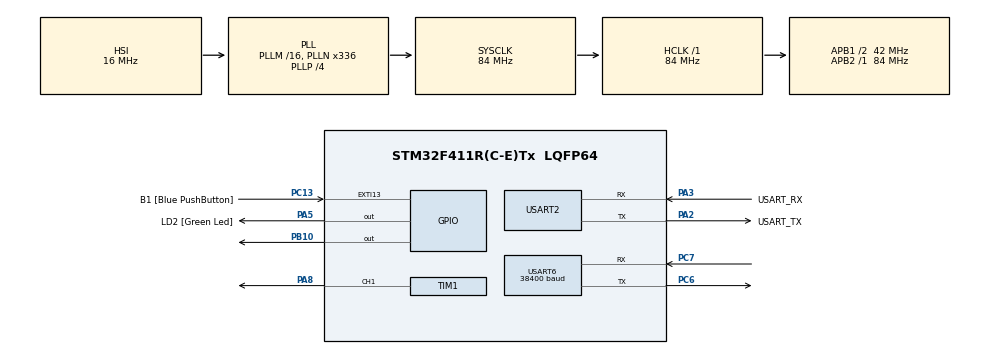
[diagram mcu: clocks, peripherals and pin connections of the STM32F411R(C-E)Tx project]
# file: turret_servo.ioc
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Mcu.Family=STM32F4
Mcu.Name=STM32F411R(C-E)Tx
Mcu.Package=LQFP64
NVIC.EXTI15_10_IRQn=true\:0\:0\:false\:false\:true\:true\:true\:true
NVIC.PriorityGroup=NVIC_PRIORITYGROUP_0
NVIC.TIM3_IRQn=true\:0\:0\:false\:false\:true\:true\:true\:true
NVIC.USART2_IRQn=true\:0\:0\:false\:false\:true\:true\:true\:true
NVIC.USART6_IRQn=true\:0\:0\:false\:false\:true\:true\:true\:true
PA13.GPIO_Label=TMS
PA13.Mode=Serial_Wire
PA13.Signal=SYS_JTMS-SWDIO
PA14.GPIO_Label=TCK
PA14.Mode=Serial_Wire
PA14.Signal=SYS_JTCK-SWCLK
PA2.GPIO_Label=USART_TX
PA2.Mode=Asynchronous
PA2.Signal=USART2_TX
PA3.GPIO_Label=USART_RX
PA3.Mode=Asynchronous
PA3.Signal=USART2_RX
PA5.GPIO_Label=LD2 [Green Led]
PA5.Signal=GPIO_Output
PA8.Signal=S_TIM1_CH1
PB10.Signal=GPIO_Output
PB3.GPIO_Label=SWO
PB3.Signal=SYS_JTDO-SWO
PC13-ANTI_TAMP.GPIO_Label=B1 [Blue PushButton]
PC13-ANTI_TAMP.GPIO_ModeDefaultEXTI=GPIO_MODE_IT_FALLING
PC13-ANTI_TAMP.Signal=GPXTI13
PC14-OSC32_IN.Mode=LSE-External-Oscillator
PC14-OSC32_IN.Signal=RCC_OSC32_IN
PC15-OSC32_OUT.Mode=LSE-External-Oscillator
PC15-OSC32_OUT.Signal=RCC_OSC32_OUT
PC6.Mode=Asynchronous
PC6.Signal=USART6_TX
PC7.Mode=Asynchronous
PC7.Signal=USART6_RX
PH0\ -\ OSC_IN.Mode=HSE-External-Clock-Source
PH0\ -\ OSC_IN.Signal=RCC_OSC_IN
PH1\ -\ OSC_OUT.Mode=HSE-External-Clock-Source
PH1\ -\ OSC_OUT.Signal=RCC_OSC_OUT
ProjectManager.HeapSize=0x200
ProjectManager.StackSize=0x400
ProjectManager.TargetToolchain=STM32CubeIDE
RCC.48MHZClocksFreq_Value=84000000
RCC.AHBFreq_Value=84000000
RCC.APB1CLKDivider=RCC_HCLK_DIV2
RCC.APB1Freq_Value=42000000
RCC.APB1TimFreq_Value=84000000
RCC.APB2Freq_Value=84000000
RCC.APB2TimFreq_Value=84000000
RCC.CortexFreq_Value=84000000
RCC.FLatency-AdvancedSettings=FLASH_LATENCY_2
RCC.HCLKFreq_Value=84000000
RCC.HSE_VALUE=8000000
RCC.HSI_VALUE=16000000
RCC.PLLN=336
RCC.PLLP=RCC_PLLP_DIV4
RCC.SYSCLKFreq_VALUE=84000000
RCC.SYSCLKSource=RCC_SYSCLKSOURCE_PLLCLK
RCC.VCOOutputFreq_Value=336000000
SH.S_TIM1_CH1.0=TIM1_CH1,PWM Generation1 CH1
TIM1.Channel-PWM\ Generation1\ CH1=TIM_CHANNEL_1
TIM1.Period=19999
TIM1.Prescaler=83
TIM3.Period=1000-1
TIM3.Prescaler=84-1
USART2.VirtualMode=VM_ASYNC
USART6.BaudRate=38400
USART6.VirtualMode=VM_ASYNC
VP_TIM3_VS_ClockSourceINT.Mode=Internal
board=NUCLEO-F411RE

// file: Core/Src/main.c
/* USER CODE BEGIN Header */
/* USER CODE END Header */
#include "main.h"

/* USER CODE BEGIN Includes */
	#include <math.h>  // atan2, M_PI 사용

	#include <stdio.h>
	#include <string.h>
	#include "esp.h"
	#include <stdlib.h>
/* USER CODE END Includes */

/* USER CODE BEGIN PD */
	#define ORIGIN_X 0
	#define ORIGIN_Y 0
	#ifdef __GNUC__

	#define PUTCHAR_PROTOTYPE int __io_putchar(int ch)
	#else
	#define PUTCHAR_PROTOTYPE int fputc(int ch, FILE *f)
	#endif /* __GNUC__ */
	#define ARR_CNT 5
	#define CMD_SIZE 50

#define TURRET_X -20.0
#define TURRET_Y 0.0

/* USER CODE END PD */

TIM_HandleTypeDef htim1;
TIM_HandleTypeDef htim3;

UART_HandleTypeDef huart2;
UART_HandleTypeDef huart6;

/* USER CODE BEGIN PV */
	volatile int newCoordFlag = 0;  // 좌표 수신 플래그
	volatile double targetX = 0;
	volatile double targetY = 0;

	volatile int pb10Active = 0;
	volatile unsigned int pb10StartTime = 0;

	uint8_t rx2char;
	extern cb_data_t cb_data;
	extern volatile unsigned char rx2Flag;
	extern volatile char rx2Data[50];
	volatile int tim3Flag1Sec=1;
	volatile unsigned int tim3Sec;
	char recvBuf[100];          // UART에서 받은 원본 버퍼
	char *pArray[ARR_CNT];      // 토큰 나눠 담을 포인터 배열
/* USER CODE END PV */

void SystemClock_Config(void);
static void MX_GPIO_Init(void);
static void MX_USART2_UART_Init(void);
static void MX_TIM1_Init(void);
static void MX_USART6_UART_Init(void);
static void MX_TIM3_Init(void);
/* USER CODE BEGIN PFP */
	char strBuff[MAX_ESP_COMMAND_LEN];
	void MX_GPIO_LED_ON(int flag);
	void MX_GPIO_LED_OFF(int flag);
	void esp_event(char *);
	char sendBuf[MAX_UART_COMMAND_LEN]={0};
/* USER CODE END PFP */

/* USER CODE BEGIN 0 */
	int angle = 0;
	int step = 1;

	uint16_t angle_to_ccr(int angle){
		if(angle < 0) angle = 0;
		if(angle > 180) angle = 180;
		return 500 + (2500 - 500) * angle / 180; // 500~2500us
	}

	int xy_to_angle(double x, double y) {
	    double dx = x - TURRET_X;
	    double dy = y - TURRET_Y;

	    double deg = atan2(dy, dx) * 180.0 / M_PI; // -180 ~ +180
	    if (deg < 0) deg += 360.0;                  // 0 ~ 360로 정규화

	    // 서보가 0~180만 가능하면 앞쪽 반원만 쓸 수 있음.
	    // 기구적으로 0°가 +X라면 그대로 0~180에 clamp.
	    if (deg > 180.0) deg = 180.0;
	    if (deg < 0.0)   deg = 0.0;

	    return (int)(deg + 0.5); // 반올림
	}

/* USER CODE END 0 */

int main(void)
{

  /* USER CODE BEGIN 1 */
		int ret = 0;
  /* USER CODE END 1 */

  /* MCU Configuration--------------------------------------------------------*/

  /* Reset of all peripherals, Initializes the Flash interface and the Systick. */
  HAL_Init();

  /* Configure the system clock */
  SystemClock_Config();

  /* Initialize all configured peripherals */
  MX_GPIO_Init();
  MX_USART2_UART_Init();
  MX_TIM1_Init();
  MX_USART6_UART_Init();
  MX_TIM3_Init();
  /* USER CODE BEGIN 2 */
	  HAL_TIM_PWM_Start(&htim1, TIM_CHANNEL_1);

	  printf("Start main() - wifi\r\n");
	  ret |= drv_uart_init();
	  ret |= drv_esp_init();
	  if(ret != 0)
	  {
		  printf("Esp response error\r\n");
		  Error_Handler();
	  }

	  AiotClient_Init();
	  if(HAL_TIM_Base_Start_IT(&htim3) != HAL_OK)
	  {
		  Error_Handler();
	  }

	 __HAL_TIM_SET_COMPARE(&htim1, TIM_CHANNEL_1, angle_to_ccr(0));
	  HAL_Delay(5000);  // 5000ms = 5초

  /* USER CODE END 2 */

  /* Infinite loop */
  while (1)
  {
	      if(strstr((char *)cb_data.buf,"+IPD") && cb_data.buf[cb_data.length-1] == '\n')
	      {
	          strcpy(strBuff,strchr((char *)cb_data.buf,'['));
	          memset(cb_data.buf,0x0,sizeof(cb_data.buf));
	          cb_data.length = 0;
	          esp_event(strBuff);
	      }

	      if(rx2Flag)
	      {
	          printf("recv2 : %s\r\n",rx2Data);
	          rx2Flag =0;
	      }

	      if(newCoordFlag)
	      {
	          newCoordFlag = 0;
	          int angle = xy_to_angle(targetX, targetY);
	          __HAL_TIM_SET_COMPARE(&htim1, TIM_CHANNEL_1, angle_to_ccr(angle));
	          printf("Move servo to angle %d (X:%.2f, Y:%.2f)\r\n", angle, targetX, targetY);

	          HAL_GPIO_WritePin(GPIOB, GPIO_PIN_10, GPIO_PIN_SET);
	          pb10Active = 1;
	          pb10StartTime = tim3Sec;   // 1초 단위 증가하는 tim3Sec 활용

	          // 좌표 송신

//	          sprintf(sendBuf, "[ALLMSG]%.2f@%.2f\n", targetX, targetY);
//	          esp_send_data(sendBuf);  // 서버로 전송
//	          printf("Sent coords: %s", sendBuf);

	          // 이전 좌표 저장용 변수 (while 밖에서 선언)
	          static double prevX = -9999, prevY = -9999;
	          const double eps = 0.01;  // 0.01 이상 바뀌면 변경으로 판단

	          if(fabs(targetX - prevX) > eps || fabs(targetY - prevY) > eps)
	          {
	              printf("Send and save coord: X=%.2f, Y=%.2f\n", targetX, targetY);
	              prevX = targetX;
	              prevY = targetY;
	          }
	      }

	      if(tim3Flag1Sec)
	      {
	          tim3Flag1Sec = 0;
	          if(!(tim3Sec%10))
	          {
	              if(esp_get_status() != 0)
	              {
	                  printf("server connecting ...\r\n");
	                  esp_client_conn();
	              }
	          }
	      }
	      if(pb10Active)
	      {
	          if((tim3Sec - pb10StartTime) >= 3) // 3초 경과하면
	          {
	              HAL_GPIO_WritePin(GPIOB, GPIO_PIN_10, GPIO_PIN_RESET); // OFF
		          sprintf(sendBuf, "[%s]OK\n", "RADAR_1");
		          esp_send_data(sendBuf);
	              pb10Active = 0;
	              printf("PB10 OFF\n");
	          }

	      }
  }
}

void SystemClock_Config(void)
{
  RCC_OscInitTypeDef RCC_OscInitStruct = {0};
  RCC_ClkInitTypeDef RCC_ClkInitStruct = {0};

  /** Configure the main internal regulator output voltage
  */
  __HAL_RCC_PWR_CLK_ENABLE();
  __HAL_PWR_VOLTAGESCALING_CONFIG(PWR_REGULATOR_VOLTAGE_SCALE1);

  /** Initializes the RCC Oscillators according to the specified parameters
  * in the RCC_OscInitTypeDef structure.
  */
  RCC_OscInitStruct.OscillatorType = RCC_OSCILLATORTYPE_HSI;
  RCC_OscInitStruct.HSIState = RCC_HSI_ON;
  RCC_OscInitStruct.HSICalibrationValue = RCC_HSICALIBRATION_DEFAULT;
  RCC_OscInitStruct.PLL.PLLState = RCC_PLL_ON;
  RCC_OscInitStruct.PLL.PLLSource = RCC_PLLSOURCE_HSI;
  RCC_OscInitStruct.PLL.PLLM = 16;
  RCC_OscInitStruct.PLL.PLLN = 336;
  RCC_OscInitStruct.PLL.PLLP = RCC_PLLP_DIV4;
  RCC_OscInitStruct.PLL.PLLQ = 4;
  if (HAL_RCC_OscConfig(&RCC_OscInitStruct) != HAL_OK)
  {
    Error_Handler();
  }

  /** Initializes the CPU, AHB and APB buses clocks
  */
  RCC_ClkInitStruct.ClockType = RCC_CLOCKTYPE_HCLK|RCC_CLOCKTYPE_SYSCLK
                              |RCC_CLOCKTYPE_PCLK1|RCC_CLOCKTYPE_PCLK2;
  RCC_ClkInitStruct.SYSCLKSource = RCC_SYSCLKSOURCE_PLLCLK;
  RCC_ClkInitStruct.AHBCLKDivider = RCC_SYSCLK_DIV1;
  RCC_ClkInitStruct.APB1CLKDivider = RCC_HCLK_DIV2;
  RCC_ClkInitStruct.APB2CLKDivider = RCC_HCLK_DIV1;

  if (HAL_RCC_ClockConfig(&RCC_ClkInitStruct, FLASH_LATENCY_2) != HAL_OK)
  {
    Error_Handler();
  }
}

static void MX_TIM1_Init(void)
{

  TIM_MasterConfigTypeDef sMasterConfig = {0};
  TIM_OC_InitTypeDef sConfigOC = {0};
  TIM_BreakDeadTimeConfigTypeDef sBreakDeadTimeConfig = {0};

  htim1.Instance = TIM1;
  htim1.Init.Prescaler = 83;
  htim1.Init.CounterMode = TIM_COUNTERMODE_UP;
  htim1.Init.Period = 19999;
  htim1.Init.ClockDivision = TIM_CLOCKDIVISION_DIV1;
  htim1.Init.RepetitionCounter = 0;
  htim1.Init.AutoReloadPreload = TIM_AUTORELOAD_PRELOAD_DISABLE;
  if (HAL_TIM_PWM_Init(&htim1) != HAL_OK)
  {
    Error_Handler();
  }
  sMasterConfig.MasterOutputTrigger = TIM_TRGO_RESET;
  sMasterConfig.MasterSlaveMode = TIM_MASTERSLAVEMODE_DISABLE;
  if (HAL_TIMEx_MasterConfigSynchronization(&htim1, &sMasterConfig) != HAL_OK)
  {
    Error_Handler();
  }
  sConfigOC.OCMode = TIM_OCMODE_PWM1;
  sConfigOC.Pulse = 0;
  sConfigOC.OCPolarity = TIM_OCPOLARITY_HIGH;
  sConfigOC.OCNPolarity = TIM_OCNPOLARITY_HIGH;
  sConfigOC.OCFastMode = TIM_OCFAST_DISABLE;
  sConfigOC.OCIdleState = TIM_OCIDLESTATE_RESET;
  sConfigOC.OCNIdleState = TIM_OCNIDLESTATE_RESET;
  if (HAL_TIM_PWM_ConfigChannel(&htim1, &sConfigOC, TIM_CHANNEL_1) != HAL_OK)
  {
    Error_Handler();
  }
  sBreakDeadTimeConfig.OffStateRunMode = TIM_OSSR_DISABLE;
  sBreakDeadTimeConfig.OffStateIDLEMode = TIM_OSSI_DISABLE;
  sBreakDeadTimeConfig.LockLevel = TIM_LOCKLEVEL_OFF;
  sBreakDeadTimeConfig.DeadTime = 0;
  sBreakDeadTimeConfig.BreakState = TIM_BREAK_DISABLE;
  sBreakDeadTimeConfig.BreakPolarity = TIM_BREAKPOLARITY_HIGH;
  sBreakDeadTimeConfig.AutomaticOutput = TIM_AUTOMATICOUTPUT_DISABLE;
  if (HAL_TIMEx_ConfigBreakDeadTime(&htim1, &sBreakDeadTimeConfig) != HAL_OK)
  {
    Error_Handler();
  }
  HAL_TIM_MspPostInit(&htim1);

}

static void MX_TIM3_Init(void)
{

  TIM_ClockConfigTypeDef sClockSourceConfig = {0};
  TIM_MasterConfigTypeDef sMasterConfig = {0};

  htim3.Instance = TIM3;
  htim3.Init.Prescaler = 84-1;
  htim3.Init.CounterMode = TIM_COUNTERMODE_UP;
  htim3.Init.Period = 1000-1;
  htim3.Init.ClockDivision = TIM_CLOCKDIVISION_DIV1;
  htim3.Init.AutoReloadPreload = TIM_AUTORELOAD_PRELOAD_DISABLE;
  if (HAL_TIM_Base_Init(&htim3) != HAL_OK)
  {
    Error_Handler();
  }
  sClockSourceConfig.ClockSource = TIM_CLOCKSOURCE_INTERNAL;
  if (HAL_TIM_ConfigClockSource(&htim3, &sClockSourceConfig) != HAL_OK)
  {
    Error_Handler();
  }
  sMasterConfig.MasterOutputTrigger = TIM_TRGO_RESET;
  sMasterConfig.MasterSlaveMode = TIM_MASTERSLAVEMODE_DISABLE;
  if (HAL_TIMEx_MasterConfigSynchronization(&htim3, &sMasterConfig) != HAL_OK)
  {
    Error_Handler();
  }

}

static void MX_USART2_UART_Init(void)
{

  huart2.Instance = USART2;
  huart2.Init.BaudRate = 115200;
  huart2.Init.WordLength = UART_WORDLENGTH_8B;
  huart2.Init.StopBits = UART_STOPBITS_1;
  huart2.Init.Parity = UART_PARITY_NONE;
  huart2.Init.Mode = UART_MODE_TX_RX;
  huart2.Init.HwFlowCtl = UART_HWCONTROL_NONE;
  huart2.Init.OverSampling = UART_OVERSAMPLING_16;
  if (HAL_UART_Init(&huart2) != HAL_OK)
  {
    Error_Handler();
  }

}

static void MX_USART6_UART_Init(void)
{

  huart6.Instance = USART6;
  huart6.Init.BaudRate = 38400;
  huart6.Init.WordLength = UART_WORDLENGTH_8B;
  huart6.Init.StopBits = UART_STOPBITS_1;
  huart6.Init.Parity = UART_PARITY_NONE;
  huart6.Init.Mode = UART_MODE_TX_RX;
  huart6.Init.HwFlowCtl = UART_HWCONTROL_NONE;
  huart6.Init.OverSampling = UART_OVERSAMPLING_16;
  if (HAL_UART_Init(&huart6) != HAL_OK)
  {
    Error_Handler();
  }

}

static void MX_GPIO_Init(void)
{
  GPIO_InitTypeDef GPIO_InitStruct = {0};

  /* GPIO Ports Clock Enable */
  __HAL_RCC_GPIOC_CLK_ENABLE();
  __HAL_RCC_GPIOH_CLK_ENABLE();
  __HAL_RCC_GPIOA_CLK_ENABLE();
  __HAL_RCC_GPIOB_CLK_ENABLE();

  /*Configure GPIO pin Output Level */
  HAL_GPIO_WritePin(LD2_GPIO_Port, LD2_Pin, GPIO_PIN_RESET);

  /*Configure GPIO pin Output Level */
  HAL_GPIO_WritePin(GPIOB, GPIO_PIN_10, GPIO_PIN_RESET);

  /*Configure GPIO pin : B1_Pin */
  GPIO_InitStruct.Pin = B1_Pin;
  GPIO_InitStruct.Mode = GPIO_MODE_IT_FALLING;
  GPIO_InitStruct.Pull = GPIO_NOPULL;
  HAL_GPIO_Init(B1_GPIO_Port, &GPIO_InitStruct);

  /*Configure GPIO pin : LD2_Pin */
  GPIO_InitStruct.Pin = LD2_Pin;
  GPIO_InitStruct.Mode = GPIO_MODE_OUTPUT_PP;
  GPIO_InitStruct.Pull = GPIO_NOPULL;
  GPIO_InitStruct.Speed = GPIO_SPEED_FREQ_LOW;
  HAL_GPIO_Init(LD2_GPIO_Port, &GPIO_InitStruct);

  /*Configure GPIO pin : PB10 */
  GPIO_InitStruct.Pin = GPIO_PIN_10;
  GPIO_InitStruct.Mode = GPIO_MODE_OUTPUT_PP;
  GPIO_InitStruct.Pull = GPIO_NOPULL;
  GPIO_InitStruct.Speed = GPIO_SPEED_FREQ_LOW;
  HAL_GPIO_Init(GPIOB, &GPIO_InitStruct);

  /* EXTI interrupt init*/
  HAL_NVIC_SetPriority(EXTI15_10_IRQn, 0, 0);
  HAL_NVIC_EnableIRQ(EXTI15_10_IRQn);

}

/* USER CODE BEGIN 4 */

	void esp_event(char *recvBuf)
	{
	    char tempBuf[100];
	    char *pAt;

	    // 개행 제거
	    int len = strlen(recvBuf);
	    while(len > 0 && (recvBuf[len-1] == '\r' || recvBuf[len-1] == '\n')) len--;
	    strncpy(tempBuf, recvBuf, len);
	    tempBuf[len] = '\0';

	    // 대괄호 제거
	    char *pStart = tempBuf;
	    if(tempBuf[0] == '[') {
	        pStart = strchr(tempBuf, ']');
	        if(pStart != NULL) pStart++; // ']' 다음부터 시작
	        else pStart = tempBuf+1;     // 혹시 ']' 없으면 그냥 다음 문자
	    }

	    // '@' 위치 찾기
	    pAt = strchr(pStart, '@');
	    if (pAt != NULL)
	    {
	        *pAt = '\0';
	        targetX = atof(pStart);
	        targetY = atof(pAt + 1);
	        newCoordFlag = 1;
	        printf("Received coords: X=%.2f, Y=%.2f\n", targetX, targetY);
	    }
	    else
	    {
	        printf("Invalid format: %s\n", pStart);
	    }
	}

	void HAL_TIM_PeriodElapsedCallback(TIM_HandleTypeDef *htim)		//1ms 마다 호출
	{
		static int tim3Cnt = 0;
		tim3Cnt++;
		if(tim3Cnt >= 1000) //1ms * 1000 = 1Sec
		{
			tim3Flag1Sec = 1;
			tim3Sec++;
			tim3Cnt = 0;
		}
	}

/* USER CODE END 4 */

void Error_Handler(void)
{
}
